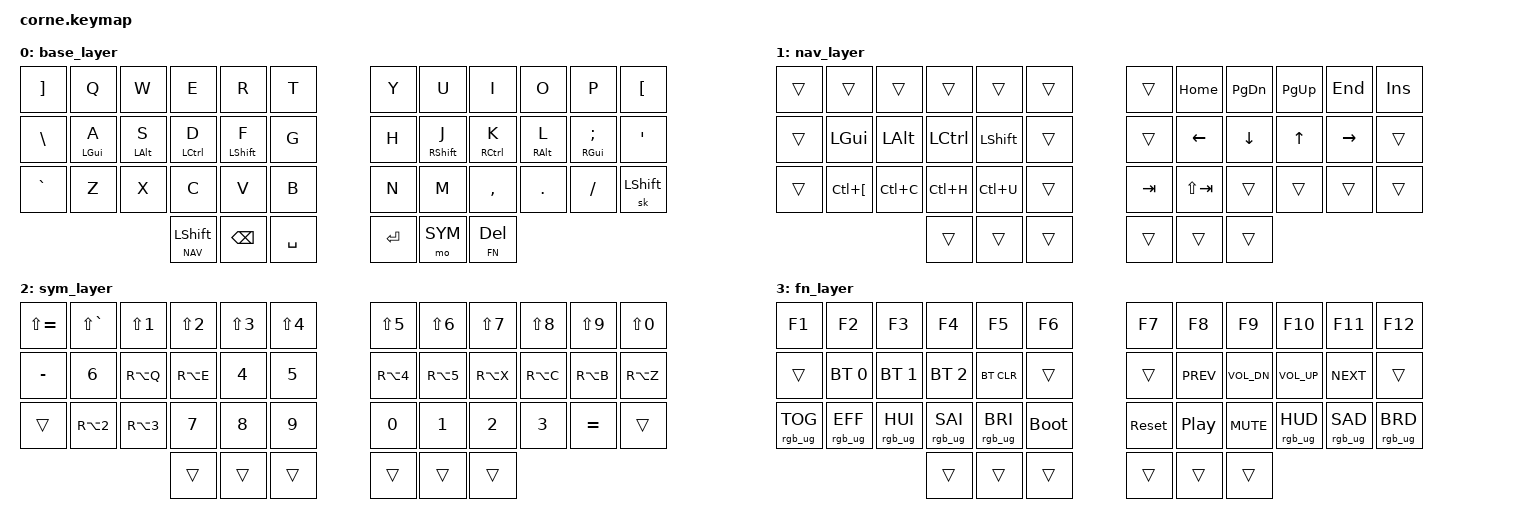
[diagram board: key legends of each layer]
/*
 * Copyright (c) 2020 The ZMK Contributors
 * SPDX-License-Identifier: MIT
 *
 * BÉPO layout for Corne 42-key (3x6 + 3 thumbs per side)
 * ZMK sends US HID keycodes — BÉPO mapping is handled by the OS.
 * Each key is commented with the expected BÉPO character.
 */

#include <behaviors.dtsi>
#include <dt-bindings/zmk/keys.h>
#include <dt-bindings/zmk/bt.h>
#include <dt-bindings/zmk/rgb.h>

#define BASE 0
#define NAV  1
#define SYM  2
#define FN   3

&nice_view_spi {
        cs-gpios = <&pro_micro 8 GPIO_ACTIVE_HIGH>;
};

&led_strip {
        chain-length = <27>;
};

/ {
        behaviors {
                hm: homerow_mods {
                        compatible = "zmk,behavior-hold-tap";
                        #binding-cells = <2>;
                        tapping-term-ms = <250>;
                        require-prior-idle-ms = <150>;
                        flavor = "balanced";
                        bindings = <&kp>, <&kp>;
                };
        };

        combos {
                compatible = "zmk,combos";
                combo_esc {
                        timeout-ms = <50>;
                        key-positions = <19 20>;  /* T + S (BEPO) = J + K (physical) -> Escape */
                        bindings = <&kp ESC>;
                };
                combo_caps_word {
                        timeout-ms = <50>;
                        key-positions = <38 39>;  /* Space + Enter -> Caps Lock (toggle) */
                        bindings = <&kp CAPS>;
                };
        };

        keymap {
                compatible = "zmk,keymap";

                base_layer {
                        // BEPO base layer (OS interprets HID US -> BEPO)
                        // ,-----+-----+-----+-----+-----+-----.   ,-----+-----+-----+-----+-----+-----.
                        // |  W  |  B  |  E' |  P  |  O  |  E` |   |  ^  |  V  |  D  |  L  |  J  |  Z  |
                        // |-----+-----+-----+-----+-----+-----|   |-----+-----+-----+-----+-----+-----|
                        // |  C, |A/GUI|U/ALT|I/CTL|E/SHF|  ,  |   |  C  |T/SHF|S/CTL|R/ALT|N/GUI|  M  |
                        // |-----+-----+-----+-----+-----+-----|   |-----+-----+-----+-----+-----+-----|
                        // |  $  |  A` |  Y  |  X  |  .  |  K  |   |  '  |  Q  |  G  |  H  |  F  |⇧ OSS|
                        // `-----+-----+-----+-----+-----+-----'   `-----+-----+-----+-----+-----+-----'
                        //                   |SH/NV|BKSP | SPC |   | ENT | SYM |DL/FN|
                        //                   `-----+-----+-----'   `-----+-----+-----'
                        bindings = <
                                &kp RBKT     &kp Q        &kp W        &kp E        &kp R        &kp T           &kp Y        &kp U        &kp I        &kp O         &kp P       &kp LBKT
                                &kp BSLH     &hm LGUI A   &hm LALT S   &hm LCTRL D  &hm LSHFT F  &kp G           &kp H        &hm RSHFT J  &hm RCTRL K  &hm RALT L    &hm RGUI SEMI &kp SQT
                                &kp GRAVE    &kp Z        &kp X        &kp C        &kp V        &kp B           &kp N        &kp M        &kp COMMA    &kp DOT       &kp FSLH    &sk LSHFT
                                                                        &lt NAV LSHFT &kp BSPC    &kp SPACE       &kp RET      &mo SYM      &lt FN DEL
                        >;
                };

                nav_layer {
                        // Navigation: vim arrows, page nav, clipboard shortcuts
                        // ,-----+-----+-----+-----+-----+-----.   ,-----+-----+-----+-----+-----+-----.
                        // |     |     |     |     |     |     |   |     |HOME |PGDN |PGUP | END | INS |
                        // |-----+-----+-----+-----+-----+-----|   |-----+-----+-----+-----+-----+-----|
                        // |     | GUI | ALT | CTL | SHF |     |   |     |  <- | DWN |  UP |  -> |     |
                        // |-----+-----+-----+-----+-----+-----|   |-----+-----+-----+-----+-----+-----|
                        // |     | C-Z | C-X | C-C | C-V |     |   | TAB |S-TAB|     |     |     |     |
                        // `-----+-----+-----+-----+-----+-----'   `-----+-----+-----+-----+-----+-----'
                        //                   | ___ | ___ | ___ |   | ___ | ___ | ___ |
                        //                   `-----+-----+-----'   `-----+-----+-----'
                        bindings = <
                                &trans       &trans       &trans       &trans       &trans       &trans          &trans       &kp HOME     &kp PG_DN    &kp PG_UP    &kp END      &kp INS
                                &trans       &kp LGUI     &kp LALT     &kp LCTRL    &kp LSHFT    &trans          &trans       &kp LEFT     &kp DOWN     &kp UP       &kp RIGHT    &trans
                                &trans       &kp LC(LBKT) &kp LC(C)    &kp LC(H)    &kp LC(U)    &trans          &kp TAB      &kp LS(TAB)  &trans       &trans       &trans       &trans
                                                                        &trans       &trans       &trans          &trans       &trans       &trans
                        >;
                };

                sym_layer {
                        // Symbols: digits + programming symbols (via BEPO OS mapping)
                        // BEPO OS: LS(Nx) -> digit, bare Nx -> symbol, RA(x) -> AltGr symbol
                        // ,-----+-----+-----+-----+-----+-----.   ,-----+-----+-----+-----+-----+-----.
                        // |  `  |  #  |  1  |  2  |  3  |  4  |   |  5  |  6  |  7  |  8  |  9  |  0  |
                        // |-----+-----+-----+-----+-----+-----|   |-----+-----+-----+-----+-----+-----|
                        // |  =  |  @  |  |  |  &  |  (  |  )  |   |  [  |  ]  |  {  |  }  |  ~  |  \  |
                        // |-----+-----+-----+-----+-----+-----|   |-----+-----+-----+-----+-----+-----|
                        // |     |  <  |  >  |  +  |  -  |  /  |   |  *  |  "  |  << |  >> |  %  |     |
                        // `-----+-----+-----+-----+-----+-----'   `-----+-----+-----+-----+-----+-----'
                        //                   | ___ | ___ | ___ |   | ___ | ___ | ___ |
                        //                   `-----+-----+-----'   `-----+-----+-----'
                        bindings = <
                                &kp LS(EQUAL) &kp LS(GRAVE) &kp LS(N1) &kp LS(N2)   &kp LS(N3)   &kp LS(N4)      &kp LS(N5)   &kp LS(N6)   &kp LS(N7)   &kp LS(N8)   &kp LS(N9)   &kp LS(N0)
                                &kp MINUS    &kp N6        &kp RA(Q)  &kp RA(E)    &kp N4       &kp N5          &kp RA(N4)   &kp RA(N5)   &kp RA(X)    &kp RA(C)    &kp RA(B)    &kp RA(Z)
                                &trans       &kp RA(N2)    &kp RA(N3) &kp N7       &kp N8       &kp N9          &kp N0       &kp N1       &kp N2       &kp N3       &kp EQUAL    &trans
                                                                        &trans       &trans       &trans          &trans       &trans       &trans
                        >;
                };

                fn_layer {
                        // Function keys, Bluetooth, media controls, system
                        // ,-----+-----+-----+-----+-----+-----.   ,-----+-----+-----+-----+-----+-----.
                        // |     | F1  | F2  | F3  | F4  | F5  |   | F6  | F7  | F8  | F9  | F10 | F11 |
                        // |-----+-----+-----+-----+-----+-----|   |-----+-----+-----+-----+-----+-----|
                        // | F12 | BT0 | BT1 | BT2 |BTCLR|     |   |     |PREV |VOL- |VOL+ |NEXT |     |
                        // |-----+-----+-----+-----+-----+-----|   |-----+-----+-----+-----+-----+-----|
                        // |     |     |     |     |     |BOOT |   |RESET|PLAY |MUTE |     |     |     |
                        // `-----+-----+-----+-----+-----+-----'   `-----+-----+-----+-----+-----+-----'
                        //                   | ___ | ___ | ___ |   | ___ | ___ | ___ |
                        //                   `-----+-----+-----'   `-----+-----+-----'
                        bindings = <
                                &kp F1       &kp F2       &kp F3       &kp F4       &kp F5       &kp F6          &kp F7       &kp F8       &kp F9       &kp F10      &kp F11      &kp F12
                                &trans       &bt BT_SEL 0 &bt BT_SEL 1 &bt BT_SEL 2 &bt BT_CLR  &trans          &trans       &kp C_PREV   &kp C_VOL_DN &kp C_VOL_UP &kp C_NEXT   &trans
                                &rgb_ug RGB_TOG &rgb_ug RGB_EFF &rgb_ug RGB_HUI &rgb_ug RGB_SAI &rgb_ug RGB_BRI &bootloader     &sys_reset   &kp C_PP     &kp C_MUTE &rgb_ug RGB_HUD &rgb_ug RGB_SAD &rgb_ug RGB_BRD
                                                                        &trans       &trans       &trans          &trans       &trans       &trans
                        >;
                };
        };
};
